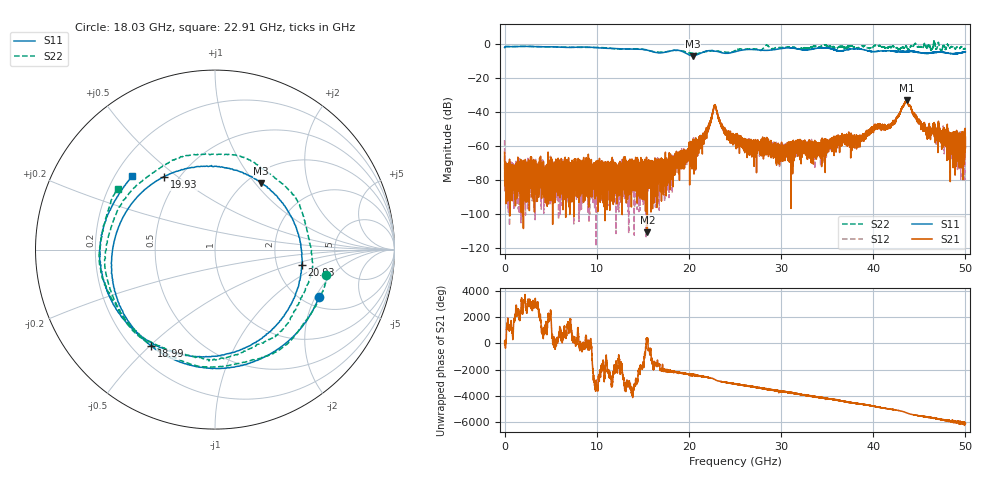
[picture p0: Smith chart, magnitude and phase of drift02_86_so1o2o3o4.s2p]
!Created with skrf (http://scikit-rf.org).
# Hz S RI R 50.0
!freq ReS11 ImS11 ReS21 ImS21 ReS12 ImS12 ReS22 ImS22
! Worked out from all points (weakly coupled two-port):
!   10001 points, 300 kHz to 50 GHz, reference 50 ohm
!   highest |S21| = -33.00 dB at 43.62 GHz (marker M1); lowest = -110.9 dB at 15.49 GHz (marker M2)
!   lowest |S11| = -6.9 dB at 20.43 GHz (marker M3), VSWR 2.64, Z = 57.8 + j53.8 ohm
!   |S11| at or under -10 dB: nowhere
!   |S22| runs from -5.7 to 2.2 dB; largest |S21 - S12| = 0.0036
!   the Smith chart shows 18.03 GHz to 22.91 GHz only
!   S11 on the Smith chart (normalised r, x): 18.03 GHz: 2.40, -2.13; 18.99 GHz: 0.27, -0.51; 19.93 GHz: 0.42, +0.45; 20.93 GHz: 2.77, -0.64; 22.91 GHz: 0.27, +0.35
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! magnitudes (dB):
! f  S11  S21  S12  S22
! 300 kHz  -2.1  -63.8  -56.5  -2.1
! 255.3 MHz  -1.4  -74.5  -77.7  -1.4
! 670.3 MHz  -1.5  -76.9  -76.1  -1.5
! 8.335 GHz  -1.7  -75.4  -97.3  -1.9
! 15.49 GHz  -3.6  -110.9  -76.9  -3.6
! 16.67 GHz  -5.2  -82.3  -77.0  -4.7
! 18.03 GHz  -3.9  -67.7  -79.3  -3.9
! 18.99 GHz  -3.8  -67.7  -69.8  -3.9
! 19.93 GHz  -6.1  -63.4  -63.8  -5.2
! 20.43 GHz  -6.9  -55.9  -67.4  -5.4
! 20.93 GHz  -6.2  -59.2  -59.5  -5.6
! 22.91 GHz  -4.2  -37.0  -37.0  -3.9
! 23.78 GHz  -5.3  -49.6  -50.5  -4.6
! 25 GHz  -4.5  -53.6  -56.0  -3.9
! 29.59 GHz  -3.0  -60.5  -66.9  -2.1
! 33.34 GHz  -3.0  -62.1  -62.5  -1.5
! 41.67 GHz  -3.9  -48.4  -48.9  -2.0
! 43.62 GHz  -4.4  -33.0  -33.2  -1.5
! 45.61 GHz  -5.3  -49.4  -48.8  0.3
! 48.46 GHz  -5.5  -53.4  -55.9  -1.5
! 49.7 GHz  -4.9  -57.8  -60.9  -2.0
! 50 GHz  -4.6  -54.8  -52.9  -2.6
